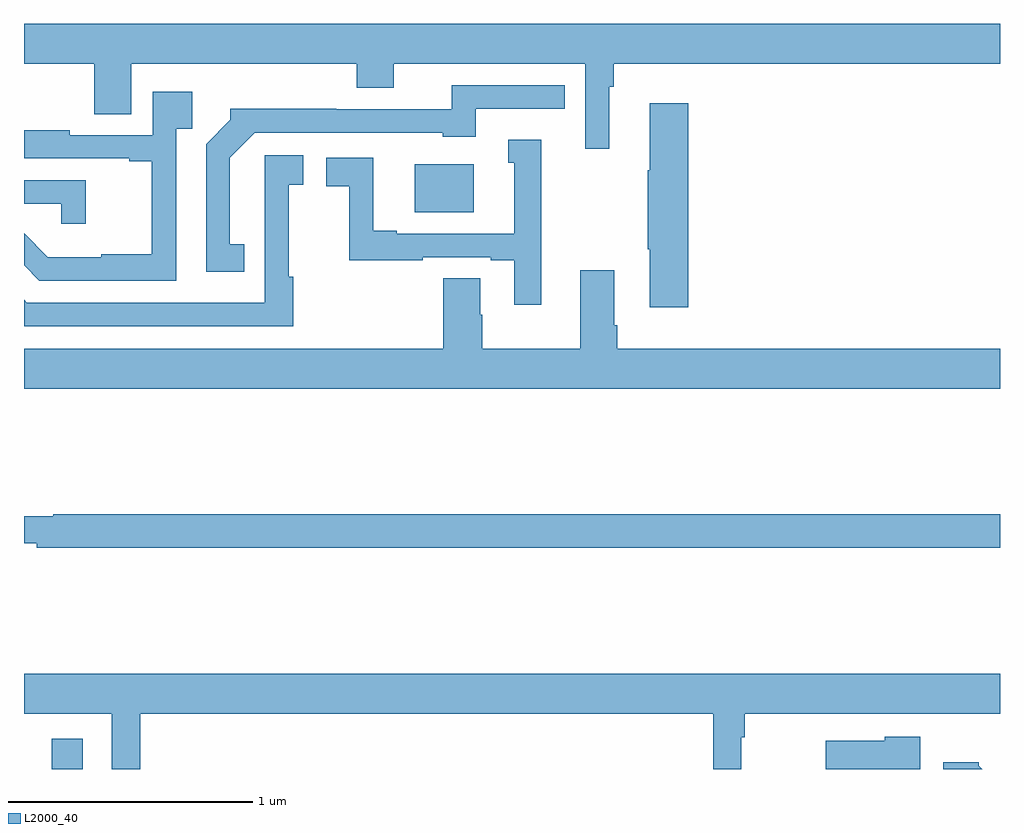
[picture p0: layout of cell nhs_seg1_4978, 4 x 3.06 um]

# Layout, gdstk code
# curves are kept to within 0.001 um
import gdstk
lib = gdstk.Library(unit=1e-6, precision=1e-09)
def R(c, l, rs):  # rectangles x0, y0, x1, y1
    for r in rs: c.add(gdstk.rectangle(r[:2], r[2:], *l))
def P(c, l, *ps):  # polygons
    for p in ps: c.add(gdstk.Polygon(p, *l))
L2000_40 = (2000, 40)

nhs_seg1_4978 = lib.new_cell('nhs_seg1_4978')
R(nhs_seg1_4978, L2000_40, [(381.113,522.199,381.241,522.325), (382.601,524.483,382.843,524.68)])
P(nhs_seg1_4978, L2000_40, [(383.398,524.996),(383.417,524.996),(383.417,525.092),(385,525.092),(385,525.256),(381,525.256),(381,525.092),(381.287,525.092),(381.287,524.884),(381.439,524.884),(381.439,525.092),(382.364,525.092),(382.364,524.993),(382.516,524.993),(382.516,525.092),(383.301,525.092),(383.301,524.742),(383.398,524.742)],
  [(381.902,524.351),(381.844,524.351),(381.844,524.707),(381.945,524.808),(382.716,524.808),(382.716,524.792),(382.852,524.792),(382.852,524.907),(383.216,524.907),(383.216,525.003),(382.753,525.003),(382.753,524.904),(382.28,524.904),(382.28,524.906),(381.846,524.906),(381.846,524.861),(381.747,524.762),(381.747,524.238),(381.902,524.238)],
  [(381.624,524.825),(381.689,524.825),(381.689,524.977),(381.528,524.977),(381.528,524.799),(381.187,524.799),(381.187,524.818),(381,524.818),(381,524.703),(381.431,524.703),(381.431,524.691),(381.523,524.691),(381.523,524.311),(381.317,524.311),(381.317,524.299),(381.098,524.299),(381,524.397),(381,524.265),(381.063,524.202),(381.624,524.202)],
  [(383.723,524.929),(383.564,524.929),(383.564,524.654),(383.557,524.654),(383.557,524.332),(383.564,524.332),(383.564,524.094),(383.723,524.094)],
  [(383.119,524.779),(382.985,524.779),(382.985,524.685),(383.009,524.685),(383.009,524.394),(382.528,524.394),(382.528,524.407),(382.432,524.407),(382.432,524.706),(382.239,524.706),(382.239,524.59),(382.333,524.59),(382.333,524.286),(382.634,524.286),(382.634,524.298),(382.913,524.298),(382.913,524.286),(383.009,524.286),(383.009,524.103),(383.119,524.103)],
  [(382.103,524.219),(382.086,524.219),(382.086,524.595),(382.144,524.595),(382.144,524.716),(381.986,524.716),(381.987,524.112),(381.012,524.112),(381,524.124),(381,524.016),(382.103,524.016)],
  [(381.254,524.613),(381,524.613),(381,524.517),(381.153,524.517),(381.153,524.436),(381.254,524.436)],
  [(385,523.924),(383.432,523.924),(383.432,524.02),(383.419,524.02),(383.419,524.245),(383.279,524.245),(383.279,523.924),(382.878,523.924),(382.878,524.063),(382.87,524.063),(382.87,524.213),(382.718,524.213),(382.718,523.924),(381,523.924),(381,523.76),(385,523.76)],
  [(385,523.244),(381.119,523.244),(381.119,523.237),(381,523.237),(381,523.127),(381.052,523.127),(381.052,523.108),(385,523.108)],
  [(381.476,522.428),(383.824,522.428),(383.824,522.199),(383.94,522.199),(383.94,522.332),(383.953,522.332),(383.953,522.428),(385,522.428),(385,522.592),(381,522.592),(381,522.428),(381.36,522.428),(381.36,522.199),(381.476,522.199)],
  [(384.673,522.334),(384.528,522.334),(384.528,522.316),(384.285,522.316),(384.285,522.199),(384.673,522.199)],
  [(384.912,522.214),(384.912,522.229),(384.768,522.229),(384.768,522.199),(384.927,522.199)])

lib.write_gds('nhs_seg1_4978.gds')
